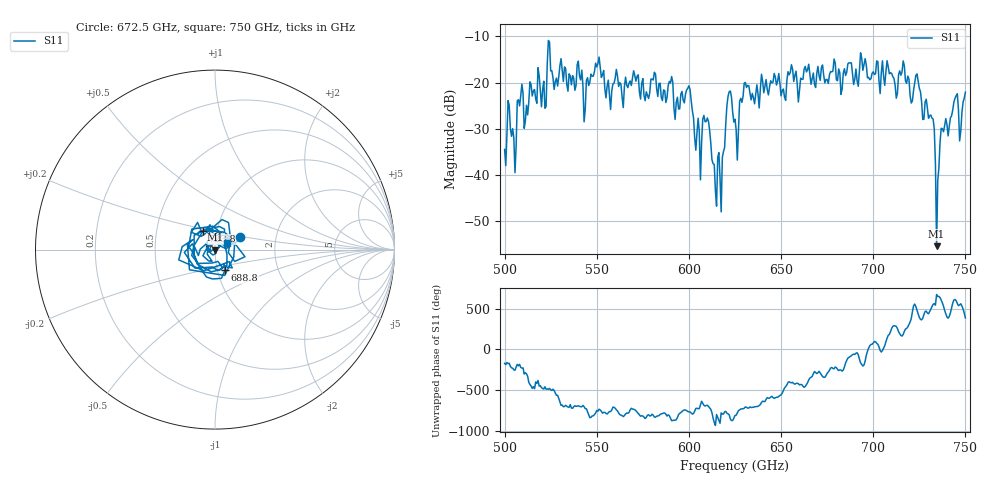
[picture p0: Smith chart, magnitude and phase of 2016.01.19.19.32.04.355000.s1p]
!Created with skrf (http://scikit-rf.org).
# GHz S RI R 50.0
!freq ReS11 ImS11
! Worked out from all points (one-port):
!   401 points, 500 GHz to 750 GHz, reference 50 ohm
!   lowest |S11| = -55.4 dB at 734.4 GHz (marker M1), VSWR 1.00, Z = 50.1 - j0.116 ohm
!   |S11| at or under -10 dB: start of sweep to end of sweep
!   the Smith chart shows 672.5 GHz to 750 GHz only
!   S11 on the Smith chart (normalised r, x): 672.5 GHz: 1.30, +0.19; 688.8 GHz: 1.09, -0.25; 723.8 GHz: 0.86, +0.18; 750 GHz: 1.14, +0.09
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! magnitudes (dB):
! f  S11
! 500 GHz  -34.5
! 503.1 GHz  -29.9
! 505 GHz  -32.0
! 508.1 GHz  -25.1
! 511.9 GHz  -24.9
! 521.2 GHz  -19.7
! 524.4 GHz  -11.3
! 531.2 GHz  -17.4
! 562.5 GHz  -20.0
! 590 GHz  -20.1
! 593.8 GHz  -23.2
! 600 GHz  -20.7
! 605 GHz  -27.7
! 609.4 GHz  -28.4
! 616.2 GHz  -35.2
! 621.9 GHz  -22.0
! 625 GHz  -27.9
! 631.2 GHz  -21.1
! 656.2 GHz  -17.1
! 672.5 GHz  -16.2
! 687.5 GHz  -15.8
! 688.8 GHz  -18.0
! 718.8 GHz  -18.6
! 723.8 GHz  -18.1
! 731.9 GHz  -27.7
! 734.4 GHz  -55.4
! 738.1 GHz  -30.7
! 750 GHz  -22.1
